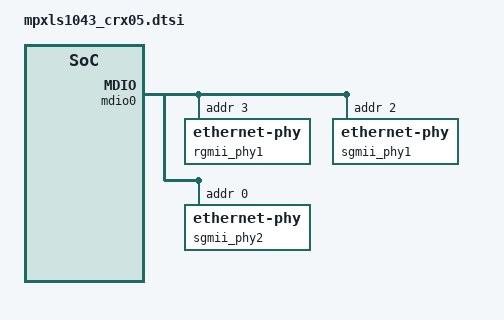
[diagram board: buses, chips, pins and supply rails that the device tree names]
// SPDX-License-Identifier: (GPL-2.0+ OR MIT)
/*
 * Device Tree file for MPXLS10xx modules on CRX05.
 *
 * Copyright 2018 MicroSys Electronics GmbH
 *
 * Kay Potthoff <Kay.Potthoff@microsys.de>
 *
 */

&mdio0 {
		rgmii_phy1: ethernet-phy@1 {
			reg = <0x3>;
			phy-connection-type = "rgmii";
		};
		sgmii_phy1: ethernet-phy@2 {
			reg = <0x2>;
			phy-connection-type = "sgmii";
		};
		sgmii_phy2: ethernet-phy@3 {
			reg = <0x0>;
			phy-connection-type = "sgmii";
		};
};
